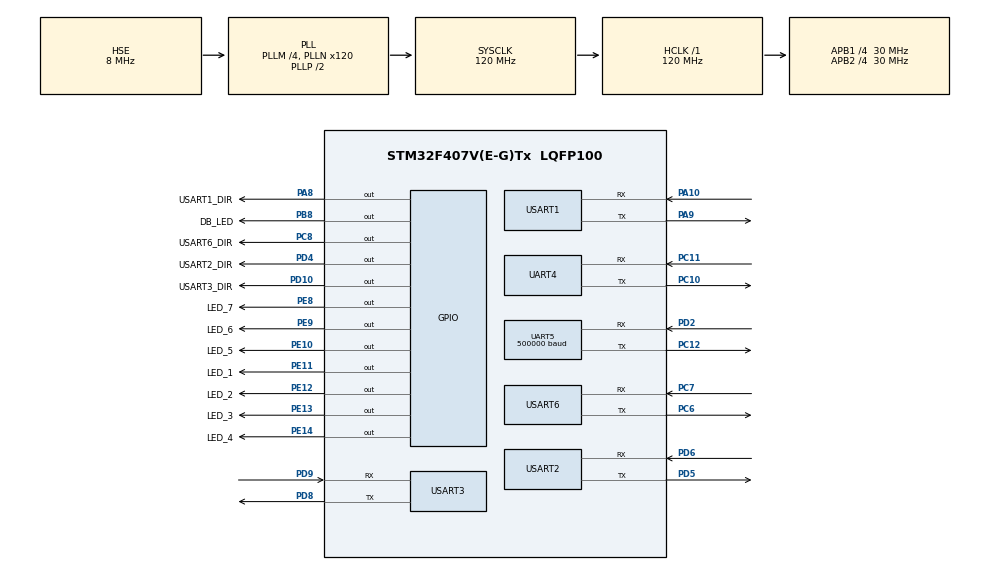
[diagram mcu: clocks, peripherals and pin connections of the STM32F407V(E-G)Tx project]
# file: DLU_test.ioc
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Dma.Request0=UART4_TX
Dma.Request1=USART2_RX
Dma.Request2=USART1_RX
Dma.Request3=USART3_RX
Dma.Request4=USART6_RX
Dma.Request5=UART5_RX
Dma.UART4_TX.0.Direction=DMA_MEMORY_TO_PERIPH
Dma.UART4_TX.0.FIFOMode=DMA_FIFOMODE_DISABLE
Dma.UART4_TX.0.Instance=DMA1_Stream4
Dma.UART4_TX.0.MemDataAlignment=DMA_MDATAALIGN_BYTE
Dma.UART4_TX.0.MemInc=DMA_MINC_ENABLE
Dma.UART4_TX.0.Mode=DMA_NORMAL
Dma.UART4_TX.0.PeriphDataAlignment=DMA_PDATAALIGN_BYTE
Dma.UART4_TX.0.PeriphInc=DMA_PINC_DISABLE
Dma.UART4_TX.0.Priority=DMA_PRIORITY_HIGH
Dma.UART5_RX.5.Direction=DMA_PERIPH_TO_MEMORY
Dma.UART5_RX.5.FIFOMode=DMA_FIFOMODE_DISABLE
Dma.UART5_RX.5.Instance=DMA1_Stream0
Dma.UART5_RX.5.MemDataAlignment=DMA_MDATAALIGN_BYTE
Dma.UART5_RX.5.MemInc=DMA_MINC_ENABLE
Dma.UART5_RX.5.Mode=DMA_NORMAL
Dma.UART5_RX.5.PeriphDataAlignment=DMA_PDATAALIGN_BYTE
Dma.UART5_RX.5.PeriphInc=DMA_PINC_DISABLE
Dma.UART5_RX.5.Priority=DMA_PRIORITY_VERY_HIGH
Dma.USART1_RX.2.Direction=DMA_PERIPH_TO_MEMORY
Dma.USART1_RX.2.FIFOMode=DMA_FIFOMODE_DISABLE
Dma.USART1_RX.2.Instance=DMA2_Stream2
Dma.USART1_RX.2.MemDataAlignment=DMA_MDATAALIGN_BYTE
Dma.USART1_RX.2.MemInc=DMA_MINC_ENABLE
Dma.USART1_RX.2.Mode=DMA_NORMAL
Dma.USART1_RX.2.PeriphDataAlignment=DMA_PDATAALIGN_BYTE
Dma.USART1_RX.2.PeriphInc=DMA_PINC_DISABLE
Dma.USART1_RX.2.Priority=DMA_PRIORITY_VERY_HIGH
Dma.USART2_RX.1.Direction=DMA_PERIPH_TO_MEMORY
Dma.USART2_RX.1.FIFOMode=DMA_FIFOMODE_DISABLE
Dma.USART2_RX.1.Instance=DMA1_Stream5
Dma.USART2_RX.1.MemDataAlignment=DMA_MDATAALIGN_BYTE
Dma.USART2_RX.1.MemInc=DMA_MINC_ENABLE
Dma.USART2_RX.1.Mode=DMA_NORMAL
Dma.USART2_RX.1.PeriphDataAlignment=DMA_PDATAALIGN_BYTE
Dma.USART2_RX.1.PeriphInc=DMA_PINC_DISABLE
Dma.USART2_RX.1.Priority=DMA_PRIORITY_VERY_HIGH
Dma.USART3_RX.3.Direction=DMA_PERIPH_TO_MEMORY
Dma.USART3_RX.3.FIFOMode=DMA_FIFOMODE_DISABLE
Dma.USART3_RX.3.Instance=DMA1_Stream1
Dma.USART3_RX.3.MemDataAlignment=DMA_MDATAALIGN_BYTE
Dma.USART3_RX.3.MemInc=DMA_MINC_ENABLE
Dma.USART3_RX.3.Mode=DMA_NORMAL
Dma.USART3_RX.3.PeriphDataAlignment=DMA_PDATAALIGN_BYTE
Dma.USART3_RX.3.PeriphInc=DMA_PINC_DISABLE
Dma.USART3_RX.3.Priority=DMA_PRIORITY_VERY_HIGH
Dma.USART6_RX.4.Direction=DMA_PERIPH_TO_MEMORY
Dma.USART6_RX.4.FIFOMode=DMA_FIFOMODE_DISABLE
Dma.USART6_RX.4.Instance=DMA2_Stream1
Dma.USART6_RX.4.MemDataAlignment=DMA_MDATAALIGN_BYTE
Dma.USART6_RX.4.MemInc=DMA_MINC_ENABLE
Dma.USART6_RX.4.Mode=DMA_NORMAL
Dma.USART6_RX.4.PeriphDataAlignment=DMA_PDATAALIGN_BYTE
Dma.USART6_RX.4.PeriphInc=DMA_PINC_DISABLE
Dma.USART6_RX.4.Priority=DMA_PRIORITY_VERY_HIGH
Mcu.Family=STM32F4
Mcu.Name=STM32F407V(E-G)Tx
Mcu.Package=LQFP100
NVIC.DMA1_Stream0_IRQn=true\:0\:0\:false\:false\:true\:false\:true\:true
NVIC.DMA1_Stream1_IRQn=true\:0\:0\:false\:false\:true\:false\:true\:true
NVIC.DMA1_Stream4_IRQn=true\:0\:0\:false\:false\:true\:false\:true\:true
NVIC.DMA1_Stream5_IRQn=true\:0\:0\:false\:false\:true\:false\:true\:true
NVIC.DMA2_Stream1_IRQn=true\:0\:0\:false\:false\:true\:false\:true\:true
NVIC.DMA2_Stream2_IRQn=true\:0\:0\:false\:false\:true\:false\:true\:true
NVIC.PriorityGroup=NVIC_PRIORITYGROUP_4
NVIC.TIM1_UP_TIM10_IRQn=true\:15\:0\:false\:false\:true\:false\:true\:true
NVIC.TIM2_IRQn=true\:0\:0\:false\:false\:true\:true\:true\:true
NVIC.TimeBase=TIM1_UP_TIM10_IRQn
NVIC.TimeBaseIP=TIM1
NVIC.UART4_IRQn=true\:0\:0\:false\:false\:true\:true\:true\:true
NVIC.UART5_IRQn=true\:0\:0\:false\:false\:true\:true\:true\:true
NVIC.USART1_IRQn=true\:0\:0\:false\:false\:true\:true\:true\:true
NVIC.USART2_IRQn=true\:0\:0\:false\:false\:true\:true\:true\:true
NVIC.USART3_IRQn=true\:0\:0\:false\:false\:true\:true\:true\:true
NVIC.USART6_IRQn=true\:0\:0\:false\:false\:true\:true\:true\:true
PA10.Mode=Asynchronous
PA10.Signal=USART1_RX
PA13.Mode=Serial_Wire
PA13.Signal=SYS_JTMS-SWDIO
PA14.Mode=Serial_Wire
PA14.Signal=SYS_JTCK-SWCLK
PA8.GPIO_Label=USART1_DIR
PA8.Signal=GPIO_Output
PA9.Mode=Asynchronous
PA9.Signal=USART1_TX
PB8.GPIO_Label=DB_LED
PB8.Signal=GPIO_Output
PC10.Mode=Asynchronous
PC10.Signal=UART4_TX
PC11.Mode=Asynchronous
PC11.Signal=UART4_RX
PC12.Mode=Asynchronous
PC12.Signal=UART5_TX
PC6.Mode=Asynchronous
PC6.Signal=USART6_TX
PC7.Mode=Asynchronous
PC7.Signal=USART6_RX
PC8.GPIO_Label=USART6_DIR
PC8.Signal=GPIO_Output
PD10.GPIO_Label=USART3_DIR
PD10.Signal=GPIO_Output
PD2.Mode=Asynchronous
PD2.Signal=UART5_RX
PD4.GPIO_Label=USART2_DIR
PD4.Signal=GPIO_Output
PD5.Mode=Asynchronous
PD5.Signal=USART2_TX
PD6.Mode=Asynchronous
PD6.Signal=USART2_RX
PD8.Mode=Asynchronous
PD8.Signal=USART3_TX
PD9.Mode=Asynchronous
PD9.Signal=USART3_RX
PE10.GPIO_Label=LED_5
PE10.Signal=GPIO_Output
PE11.GPIO_Label=LED_1
PE11.Signal=GPIO_Output
PE12.GPIO_Label=LED_2
PE12.Signal=GPIO_Output
PE13.GPIO_Label=LED_3
PE13.Signal=GPIO_Output
PE14.GPIO_Label=LED_4
PE14.Signal=GPIO_Output
PE8.GPIO_Label=LED_7
PE8.Signal=GPIO_Output
PE9.GPIO_Label=LED_6
PE9.Signal=GPIO_Output
PH0-OSC_IN.Mode=HSE-External-Oscillator
PH0-OSC_IN.Signal=RCC_OSC_IN
PH1-OSC_OUT.Mode=HSE-External-Oscillator
PH1-OSC_OUT.Signal=RCC_OSC_OUT
ProjectManager.HeapSize=0x200
ProjectManager.StackSize=0x400
ProjectManager.TargetToolchain=STM32CubeIDE
RCC.48MHZClocksFreq_Value=60000000
RCC.AHBFreq_Value=120000000
RCC.APB1CLKDivider=RCC_HCLK_DIV4
RCC.APB1Freq_Value=30000000
RCC.APB1TimFreq_Value=60000000
RCC.APB2CLKDivider=RCC_HCLK_DIV4
RCC.APB2Freq_Value=30000000
RCC.APB2TimFreq_Value=60000000
RCC.CortexFreq_Value=120000000
RCC.HCLKFreq_Value=120000000
RCC.HSE_VALUE=8000000
RCC.HSI_VALUE=16000000
RCC.LSE_VALUE=32768
RCC.PLLM=4
RCC.PLLN=120
RCC.PLLSourceVirtual=RCC_PLLSOURCE_HSE
RCC.SYSCLKFreq_VALUE=120000000
RCC.SYSCLKSource=RCC_SYSCLKSOURCE_PLLCLK
RCC.VCOOutputFreq_Value=240000000
TIM2.Channel-PWM\ Generation1\ No\ Output=TIM_CHANNEL_1
TIM2.CounterMode=TIM_COUNTERMODE_CENTERALIGNED1
TIM2.Period=9999
TIM2.Prescaler=59
TIM2.TIM_MasterOutputTrigger=TIM_TRGO_UPDATE
UART4.VirtualMode=Asynchronous
UART5.BaudRate=500000
UART5.Mode=MODE_TX_RX
UART5.VirtualMode=Asynchronous
USART1.VirtualMode=VM_ASYNC
USART2.VirtualMode=VM_ASYNC
USART3.VirtualMode=VM_ASYNC
USART6.VirtualMode=VM_ASYNC
VP_SYS_VS_tim1.Mode=TIM1
VP_TIM2_VS_ClockSourceINT.Mode=Internal
VP_TIM2_VS_no_output1.Mode=PWM Generation1 No Output
board=custom

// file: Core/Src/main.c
/* USER CODE BEGIN Header */
/**
  ******************************************************************************
  * @file           : main.c
  * @brief          : Main program body
  ******************************************************************************
  * @attention
  *
  * Copyright (c) 2025 STMicroelectronics.
  * All rights reserved.
  *
  * This software is licensed under terms that can be found in the LICENSE file
  * in the root directory of this software component.
  * If no LICENSE file comes with this software, it is provided AS-IS.
  *
  ******************************************************************************
  */
/* USER CODE END Header */
#include "main.h"

/* USER CODE BEGIN Includes */
#include "string.h"
/* USER CODE END Includes */

/* USER CODE BEGIN PD */
#define RX_BUFFER_SIZE 		150
#define QUEUE_SIZE 			152 // RX_BUFFERE_SIZE + 2
#define FRAME_SIZE			72
#define PACKET_SIZE 		FRAME_SIZE*6
#define NUM_OF_PORT 6
#define PORT_1		0
#define PORT_2		1
#define PORT_3		2
#define PORT_4		3
#define PORT_5		4
#define PORT_6		5

/* USER CODE END PD */

TIM_HandleTypeDef htim2;

UART_HandleTypeDef huart4;
UART_HandleTypeDef huart5;
UART_HandleTypeDef huart1;
UART_HandleTypeDef huart2;
UART_HandleTypeDef huart3;
UART_HandleTypeDef huart6;
DMA_HandleTypeDef hdma_uart4_tx;
DMA_HandleTypeDef hdma_uart5_rx;
DMA_HandleTypeDef hdma_usart1_rx;
DMA_HandleTypeDef hdma_usart2_rx;
DMA_HandleTypeDef hdma_usart3_rx;
DMA_HandleTypeDef hdma_usart6_rx;

/* USER CODE BEGIN PV */
uint8_t rx_dma_buffer_port_3[RX_BUFFER_SIZE] = {0};
uint8_t rx_dma_buffer_port_4[RX_BUFFER_SIZE] = {0};
uint8_t rx_dma_buffer_port_5[RX_BUFFER_SIZE] = {0};
uint8_t rx_dma_buffer_port_6[RX_BUFFER_SIZE] = {0};
uint8_t rx_dma_buffer_port_extend[RX_BUFFER_SIZE] = {0};

uint8_t txBuffer_debug[PACKET_SIZE] = {0};

uint8_t port_6_queue[QUEUE_SIZE] = {0};
uint8_t port_5_queue[QUEUE_SIZE] = {0};
uint8_t port_4_queue[QUEUE_SIZE] = {0};
uint8_t port_3_queue[QUEUE_SIZE] = {0};
uint8_t port_2_queue[QUEUE_SIZE] = {0};
uint8_t port_1_queue[QUEUE_SIZE] = {0};

uint8_t frame_size[6] = {0};

uint8_t uart_dma_processing[6] = {0};

uint32_t db_cur_tick = 0;
uint32_t led_timer_counter = 0;
uint32_t process_period_counter = 0;

/* USER CODE END PV */

void SystemClock_Config(void);
static void MX_GPIO_Init(void);
static void MX_DMA_Init(void);
static void MX_UART4_Init(void);
static void MX_USART2_UART_Init(void);
static void MX_USART1_UART_Init(void);
static void MX_USART3_UART_Init(void);
static void MX_USART6_UART_Init(void);
static void MX_UART5_Init(void);
static void MX_TIM2_Init(void);

/* USER CODE BEGIN 0 */
void HAL_UARTEx_RxEventCallback(UART_HandleTypeDef *huart, uint16_t Size)
{
	static uint32_t led_port_1_debug_irq = 0;
	static uint32_t led_port_2_debug_irq = 0;
	static uint32_t led_port_3_debug_irq = 0;
	static uint32_t led_port_4_debug_irq = 0;
	static uint32_t led_port_5_debug_irq = 0;
	static uint32_t led_port_6_debug_irq = 0;
	led_port_1_debug_irq++;
	led_port_2_debug_irq++;
	led_port_3_debug_irq++;
	led_port_4_debug_irq++;
	led_port_5_debug_irq++;
	led_port_6_debug_irq++;
	if (huart->Instance == USART2){ // port 6
		if (led_port_6_debug_irq > 10) {
			led_port_6_debug_irq = 0;
			HAL_GPIO_TogglePin(LED_7_GPIO_Port, LED_7_Pin);
		}
		frame_size[PORT_6] = Size;
		uart_dma_processing[PORT_6] = 1;
		port_6_queue[0] = 0xaa;
		port_6_queue[1] = 6;
		memcpy((port_6_queue + 2), rx_dma_buffer_port_6, frame_size[PORT_6]);
//		volatile uint32_t byte_sr;
//		byte_sr = USART2->SR;
//		byte_sr = USART2->DR;
		HAL_UARTEx_ReceiveToIdle_DMA(&huart2, rx_dma_buffer_port_6, RX_BUFFER_SIZE);
		__HAL_DMA_DISABLE_IT(&hdma_usart2_rx, DMA_IT_HT);
	}

	if (huart->Instance == USART1){ // port 5
		if (led_port_5_debug_irq > 10) {
			led_port_5_debug_irq = 0;
			HAL_GPIO_TogglePin(LED_6_GPIO_Port, LED_6_Pin);
		}
		frame_size[PORT_5] = Size;
		uart_dma_processing[PORT_5] = 1;
		port_5_queue[0] = 0xaa;
		port_5_queue[1] = 5;
		memcpy((port_5_queue + 2), rx_dma_buffer_port_5, frame_size[PORT_5]);
		HAL_UARTEx_ReceiveToIdle_DMA(&huart1, rx_dma_buffer_port_5, RX_BUFFER_SIZE);
		__HAL_DMA_DISABLE_IT(&hdma_usart1_rx, DMA_IT_HT);
	}

	if (huart->Instance == USART6){ // port 4
		if (led_port_4_debug_irq > 10) {
			led_port_4_debug_irq = 0;
			HAL_GPIO_TogglePin(LED_5_GPIO_Port, LED_5_Pin);
		}
		frame_size[PORT_4] = Size;
		uart_dma_processing[PORT_4] = 1;
		port_4_queue[0] = 0xaa;
		port_4_queue[1] = 4;
		memcpy((port_4_queue + 2), rx_dma_buffer_port_4, frame_size[PORT_4]);
		HAL_UARTEx_ReceiveToIdle_DMA(&huart6, rx_dma_buffer_port_4, RX_BUFFER_SIZE);
		__HAL_DMA_DISABLE_IT(&hdma_usart6_rx, DMA_IT_HT);
	}

	if (huart->Instance == USART3){ // port 3
		if (led_port_3_debug_irq > 10) {
			led_port_3_debug_irq = 0;
			HAL_GPIO_TogglePin(LED_4_GPIO_Port, LED_4_Pin);
		}
		frame_size[PORT_3] = Size;
		uart_dma_processing[PORT_3] = 1;
		port_3_queue[0] = 0xaa;
		port_3_queue[1] = 3;
		memcpy((port_3_queue + 2), rx_dma_buffer_port_3, frame_size[PORT_3]);
		HAL_UARTEx_ReceiveToIdle_DMA(&huart3, rx_dma_buffer_port_3, RX_BUFFER_SIZE);
		__HAL_DMA_DISABLE_IT(&hdma_usart3_rx, DMA_IT_HT);
	}

	if (huart->Instance == UART5){ // port extend 1-2
		if (rx_dma_buffer_port_extend[1] == 1){
			if (led_port_1_debug_irq > 2) {
				led_port_1_debug_irq = 0;
				HAL_GPIO_TogglePin(LED_2_GPIO_Port, LED_2_Pin);
			}
			frame_size[PORT_1] = Size;
			uart_dma_processing[PORT_1] = 1;
			memcpy(port_1_queue, rx_dma_buffer_port_extend, frame_size[PORT_1]);
		} else if (rx_dma_buffer_port_extend[1] == 2){
			if (led_port_2_debug_irq > 2) {
				led_port_2_debug_irq = 0;
				HAL_GPIO_TogglePin(LED_3_GPIO_Port, LED_3_Pin);
			}
			frame_size[PORT_2] = Size;
			uart_dma_processing[PORT_2] = 1;
			memcpy(port_2_queue, rx_dma_buffer_port_extend, frame_size[PORT_2]);
		}
		HAL_UARTEx_ReceiveToIdle_DMA(&huart5, rx_dma_buffer_port_extend, RX_BUFFER_SIZE);
		__HAL_DMA_DISABLE_IT(&hdma_uart5_rx, DMA_IT_HT);
	}
}

/* USER CODE END 0 */

int main(void)
{

  /* MCU Configuration--------------------------------------------------------*/

  /* Reset of all peripherals, Initializes the Flash interface and the Systick. */
  HAL_Init();

  /* Configure the system clock */
  SystemClock_Config();

  /* Initialize all configured peripherals */
  MX_GPIO_Init();
  MX_DMA_Init();
  MX_UART4_Init();
  MX_USART2_UART_Init();
  MX_USART1_UART_Init();
  MX_USART3_UART_Init();
  MX_USART6_UART_Init();
  MX_UART5_Init();
  MX_TIM2_Init();
  /* USER CODE BEGIN 2 */
  //port 6 - USART 2
//  HAL_GPIO_WritePin(USART2_DIR_GPIO_Port, USART2_DIR_Pin, GPIO_PIN_RESET);
  HAL_UARTEx_ReceiveToIdle_DMA(&huart2, rx_dma_buffer_port_6, RX_BUFFER_SIZE);
  __HAL_DMA_DISABLE_IT(&hdma_usart2_rx, DMA_IT_HT);

  //port 5 - USART 1
//  HAL_GPIO_WritePin(USART1_DIR_GPIO_Port, USART1_DIR_Pin, GPIO_PIN_RESET);
  HAL_UARTEx_ReceiveToIdle_DMA(&huart1, rx_dma_buffer_port_5, RX_BUFFER_SIZE);
  __HAL_DMA_DISABLE_IT(&hdma_usart1_rx, DMA_IT_HT);

  //port 4 - USART 6
//  HAL_GPIO_WritePin(USART6_DIR_GPIO_Port, USART6_DIR_Pin, GPIO_PIN_RESET);
  HAL_UARTEx_ReceiveToIdle_DMA(&huart6, rx_dma_buffer_port_4, RX_BUFFER_SIZE);
  __HAL_DMA_DISABLE_IT(&hdma_usart6_rx, DMA_IT_HT);

  //port 3 - USART 3
//  HAL_GPIO_WritePin(USART3_DIR_GPIO_Port, USART3_DIR_Pin, GPIO_PIN_RESET);
  HAL_UARTEx_ReceiveToIdle_DMA(&huart3, rx_dma_buffer_port_3, RX_BUFFER_SIZE);
  __HAL_DMA_DISABLE_IT(&hdma_usart3_rx, DMA_IT_HT);

  //port extend - UART 5
//  HAL_GPIO_WritePin(UART5_DIR_GPIO_Port, UART5_DIR_Pin, GPIO_PIN_RESET);
  HAL_UARTEx_ReceiveToIdle_DMA(&huart5, rx_dma_buffer_port_extend, RX_BUFFER_SIZE);
  __HAL_DMA_DISABLE_IT(&hdma_uart5_rx, DMA_IT_HT);

  // start timer 2
  HAL_TIM_Base_Start_IT(&htim2);

  /* USER CODE END 2 */

  /* Infinite loop */
  while (1)
  {

    /* USER CODE BEGIN 3 */
	  db_cur_tick = HAL_GetTick();
	  if (db_cur_tick % 500 == 100) HAL_GPIO_TogglePin(DB_LED_GPIO_Port, DB_LED_Pin);
//	  for (int i = 0; i < NUM_OF_PORT; i++){
//		  uart_dma_processing[i] = 0;
//	  }
  }
  /* USER CODE END 3 */
}

void SystemClock_Config(void)
{
  RCC_OscInitTypeDef RCC_OscInitStruct = {0};
  RCC_ClkInitTypeDef RCC_ClkInitStruct = {0};

  /** Configure the main internal regulator output voltage
  */
  __HAL_RCC_PWR_CLK_ENABLE();
  __HAL_PWR_VOLTAGESCALING_CONFIG(PWR_REGULATOR_VOLTAGE_SCALE1);

  /** Initializes the RCC Oscillators according to the specified parameters
  * in the RCC_OscInitTypeDef structure.
  */
  RCC_OscInitStruct.OscillatorType = RCC_OSCILLATORTYPE_HSE;
  RCC_OscInitStruct.HSEState = RCC_HSE_ON;
  RCC_OscInitStruct.PLL.PLLState = RCC_PLL_ON;
  RCC_OscInitStruct.PLL.PLLSource = RCC_PLLSOURCE_HSE;
  RCC_OscInitStruct.PLL.PLLM = 4;
  RCC_OscInitStruct.PLL.PLLN = 120;
  RCC_OscInitStruct.PLL.PLLP = RCC_PLLP_DIV2;
  RCC_OscInitStruct.PLL.PLLQ = 4;
  if (HAL_RCC_OscConfig(&RCC_OscInitStruct) != HAL_OK)
  {
    Error_Handler();
  }

  /** Initializes the CPU, AHB and APB buses clocks
  */
  RCC_ClkInitStruct.ClockType = RCC_CLOCKTYPE_HCLK|RCC_CLOCKTYPE_SYSCLK
                              |RCC_CLOCKTYPE_PCLK1|RCC_CLOCKTYPE_PCLK2;
  RCC_ClkInitStruct.SYSCLKSource = RCC_SYSCLKSOURCE_PLLCLK;
  RCC_ClkInitStruct.AHBCLKDivider = RCC_SYSCLK_DIV1;
  RCC_ClkInitStruct.APB1CLKDivider = RCC_HCLK_DIV4;
  RCC_ClkInitStruct.APB2CLKDivider = RCC_HCLK_DIV4;

  if (HAL_RCC_ClockConfig(&RCC_ClkInitStruct, FLASH_LATENCY_3) != HAL_OK)
  {
    Error_Handler();
  }
}

static void MX_TIM2_Init(void)
{

  TIM_ClockConfigTypeDef sClockSourceConfig = {0};
  TIM_MasterConfigTypeDef sMasterConfig = {0};
  TIM_OC_InitTypeDef sConfigOC = {0};

  htim2.Instance = TIM2;
  htim2.Init.Prescaler = 59;
  htim2.Init.CounterMode = TIM_COUNTERMODE_CENTERALIGNED1;
  htim2.Init.Period = 9999;
  htim2.Init.ClockDivision = TIM_CLOCKDIVISION_DIV1;
  htim2.Init.AutoReloadPreload = TIM_AUTORELOAD_PRELOAD_DISABLE;
  if (HAL_TIM_Base_Init(&htim2) != HAL_OK)
  {
    Error_Handler();
  }
  sClockSourceConfig.ClockSource = TIM_CLOCKSOURCE_INTERNAL;
  if (HAL_TIM_ConfigClockSource(&htim2, &sClockSourceConfig) != HAL_OK)
  {
    Error_Handler();
  }
  if (HAL_TIM_PWM_Init(&htim2) != HAL_OK)
  {
    Error_Handler();
  }
  sMasterConfig.MasterOutputTrigger = TIM_TRGO_UPDATE;
  sMasterConfig.MasterSlaveMode = TIM_MASTERSLAVEMODE_DISABLE;
  if (HAL_TIMEx_MasterConfigSynchronization(&htim2, &sMasterConfig) != HAL_OK)
  {
    Error_Handler();
  }
  sConfigOC.OCMode = TIM_OCMODE_PWM1;
  sConfigOC.Pulse = 0;
  sConfigOC.OCPolarity = TIM_OCPOLARITY_HIGH;
  sConfigOC.OCFastMode = TIM_OCFAST_DISABLE;
  if (HAL_TIM_PWM_ConfigChannel(&htim2, &sConfigOC, TIM_CHANNEL_1) != HAL_OK)
  {
    Error_Handler();
  }

}

static void MX_UART4_Init(void)
{

  huart4.Instance = UART4;
  huart4.Init.BaudRate = 115200;
  huart4.Init.WordLength = UART_WORDLENGTH_8B;
  huart4.Init.StopBits = UART_STOPBITS_1;
  huart4.Init.Parity = UART_PARITY_NONE;
  huart4.Init.Mode = UART_MODE_TX_RX;
  huart4.Init.HwFlowCtl = UART_HWCONTROL_NONE;
  huart4.Init.OverSampling = UART_OVERSAMPLING_16;
  if (HAL_UART_Init(&huart4) != HAL_OK)
  {
    Error_Handler();
  }

}

static void MX_UART5_Init(void)
{

  huart5.Instance = UART5;
  huart5.Init.BaudRate = 500000;
  huart5.Init.WordLength = UART_WORDLENGTH_8B;
  huart5.Init.StopBits = UART_STOPBITS_1;
  huart5.Init.Parity = UART_PARITY_NONE;
  huart5.Init.Mode = UART_MODE_TX_RX;
  huart5.Init.HwFlowCtl = UART_HWCONTROL_NONE;
  huart5.Init.OverSampling = UART_OVERSAMPLING_16;
  if (HAL_UART_Init(&huart5) != HAL_OK)
  {
    Error_Handler();
  }

}

static void MX_USART1_UART_Init(void)
{

  huart1.Instance = USART1;
  huart1.Init.BaudRate = 115200;
  huart1.Init.WordLength = UART_WORDLENGTH_8B;
  huart1.Init.StopBits = UART_STOPBITS_1;
  huart1.Init.Parity = UART_PARITY_NONE;
  huart1.Init.Mode = UART_MODE_TX_RX;
  huart1.Init.HwFlowCtl = UART_HWCONTROL_NONE;
  huart1.Init.OverSampling = UART_OVERSAMPLING_16;
  if (HAL_UART_Init(&huart1) != HAL_OK)
  {
    Error_Handler();
  }

}

static void MX_USART2_UART_Init(void)
{

  huart2.Instance = USART2;
  huart2.Init.BaudRate = 115200;
  huart2.Init.WordLength = UART_WORDLENGTH_8B;
  huart2.Init.StopBits = UART_STOPBITS_1;
  huart2.Init.Parity = UART_PARITY_NONE;
  huart2.Init.Mode = UART_MODE_TX_RX;
  huart2.Init.HwFlowCtl = UART_HWCONTROL_NONE;
  huart2.Init.OverSampling = UART_OVERSAMPLING_16;
  if (HAL_UART_Init(&huart2) != HAL_OK)
  {
    Error_Handler();
  }

}

static void MX_USART3_UART_Init(void)
{

  huart3.Instance = USART3;
  huart3.Init.BaudRate = 115200;
  huart3.Init.WordLength = UART_WORDLENGTH_8B;
  huart3.Init.StopBits = UART_STOPBITS_1;
  huart3.Init.Parity = UART_PARITY_NONE;
  huart3.Init.Mode = UART_MODE_TX_RX;
  huart3.Init.HwFlowCtl = UART_HWCONTROL_NONE;
  huart3.Init.OverSampling = UART_OVERSAMPLING_16;
  if (HAL_UART_Init(&huart3) != HAL_OK)
  {
    Error_Handler();
  }

}

static void MX_USART6_UART_Init(void)
{

  huart6.Instance = USART6;
  huart6.Init.BaudRate = 115200;
  huart6.Init.WordLength = UART_WORDLENGTH_8B;
  huart6.Init.StopBits = UART_STOPBITS_1;
  huart6.Init.Parity = UART_PARITY_NONE;
  huart6.Init.Mode = UART_MODE_TX_RX;
  huart6.Init.HwFlowCtl = UART_HWCONTROL_NONE;
  huart6.Init.OverSampling = UART_OVERSAMPLING_16;
  if (HAL_UART_Init(&huart6) != HAL_OK)
  {
    Error_Handler();
  }

}

static void MX_DMA_Init(void)
{

  /* DMA controller clock enable */
  __HAL_RCC_DMA1_CLK_ENABLE();
  __HAL_RCC_DMA2_CLK_ENABLE();

  /* DMA interrupt init */
  /* DMA1_Stream0_IRQn interrupt configuration */
  HAL_NVIC_SetPriority(DMA1_Stream0_IRQn, 0, 0);
  HAL_NVIC_EnableIRQ(DMA1_Stream0_IRQn);
  /* DMA1_Stream1_IRQn interrupt configuration */
  HAL_NVIC_SetPriority(DMA1_Stream1_IRQn, 0, 0);
  HAL_NVIC_EnableIRQ(DMA1_Stream1_IRQn);
  /* DMA1_Stream4_IRQn interrupt configuration */
  HAL_NVIC_SetPriority(DMA1_Stream4_IRQn, 0, 0);
  HAL_NVIC_EnableIRQ(DMA1_Stream4_IRQn);
  /* DMA1_Stream5_IRQn interrupt configuration */
  HAL_NVIC_SetPriority(DMA1_Stream5_IRQn, 0, 0);
  HAL_NVIC_EnableIRQ(DMA1_Stream5_IRQn);
  /* DMA2_Stream1_IRQn interrupt configuration */
  HAL_NVIC_SetPriority(DMA2_Stream1_IRQn, 0, 0);
  HAL_NVIC_EnableIRQ(DMA2_Stream1_IRQn);
  /* DMA2_Stream2_IRQn interrupt configuration */
  HAL_NVIC_SetPriority(DMA2_Stream2_IRQn, 0, 0);
  HAL_NVIC_EnableIRQ(DMA2_Stream2_IRQn);

}

static void MX_GPIO_Init(void)
{
  GPIO_InitTypeDef GPIO_InitStruct = {0};

  /* GPIO Ports Clock Enable */
  __HAL_RCC_GPIOH_CLK_ENABLE();
  __HAL_RCC_GPIOE_CLK_ENABLE();
  __HAL_RCC_GPIOD_CLK_ENABLE();
  __HAL_RCC_GPIOC_CLK_ENABLE();
  __HAL_RCC_GPIOA_CLK_ENABLE();
  __HAL_RCC_GPIOB_CLK_ENABLE();

  /*Configure GPIO pin Output Level */
  HAL_GPIO_WritePin(GPIOE, LED_7_Pin|LED_6_Pin|LED_5_Pin|LED_1_Pin
                          |LED_2_Pin|LED_3_Pin|LED_4_Pin, GPIO_PIN_RESET);

  /*Configure GPIO pin Output Level */
  HAL_GPIO_WritePin(GPIOD, USART3_DIR_Pin|USART2_DIR_Pin, GPIO_PIN_RESET);

  /*Configure GPIO pin Output Level */
  HAL_GPIO_WritePin(USART6_DIR_GPIO_Port, USART6_DIR_Pin, GPIO_PIN_RESET);

  /*Configure GPIO pin Output Level */
  HAL_GPIO_WritePin(USART1_DIR_GPIO_Port, USART1_DIR_Pin, GPIO_PIN_RESET);

  /*Configure GPIO pin Output Level */
  HAL_GPIO_WritePin(DB_LED_GPIO_Port, DB_LED_Pin, GPIO_PIN_RESET);

  /*Configure GPIO pins : LED_7_Pin LED_6_Pin LED_5_Pin LED_1_Pin
                           LED_2_Pin LED_3_Pin LED_4_Pin */
  GPIO_InitStruct.Pin = LED_7_Pin|LED_6_Pin|LED_5_Pin|LED_1_Pin
                          |LED_2_Pin|LED_3_Pin|LED_4_Pin;
  GPIO_InitStruct.Mode = GPIO_MODE_OUTPUT_PP;
  GPIO_InitStruct.Pull = GPIO_NOPULL;
  GPIO_InitStruct.Speed = GPIO_SPEED_FREQ_LOW;
  HAL_GPIO_Init(GPIOE, &GPIO_InitStruct);

  /*Configure GPIO pins : USART3_DIR_Pin USART2_DIR_Pin */
  GPIO_InitStruct.Pin = USART3_DIR_Pin|USART2_DIR_Pin;
  GPIO_InitStruct.Mode = GPIO_MODE_OUTPUT_PP;
  GPIO_InitStruct.Pull = GPIO_NOPULL;
  GPIO_InitStruct.Speed = GPIO_SPEED_FREQ_LOW;
  HAL_GPIO_Init(GPIOD, &GPIO_InitStruct);

  /*Configure GPIO pin : USART6_DIR_Pin */
  GPIO_InitStruct.Pin = USART6_DIR_Pin;
  GPIO_InitStruct.Mode = GPIO_MODE_OUTPUT_PP;
  GPIO_InitStruct.Pull = GPIO_NOPULL;
  GPIO_InitStruct.Speed = GPIO_SPEED_FREQ_LOW;
  HAL_GPIO_Init(USART6_DIR_GPIO_Port, &GPIO_InitStruct);

  /*Configure GPIO pin : USART1_DIR_Pin */
  GPIO_InitStruct.Pin = USART1_DIR_Pin;
  GPIO_InitStruct.Mode = GPIO_MODE_OUTPUT_PP;
  GPIO_InitStruct.Pull = GPIO_NOPULL;
  GPIO_InitStruct.Speed = GPIO_SPEED_FREQ_LOW;
  HAL_GPIO_Init(USART1_DIR_GPIO_Port, &GPIO_InitStruct);

  /*Configure GPIO pin : DB_LED_Pin */
  GPIO_InitStruct.Pin = DB_LED_Pin;
  GPIO_InitStruct.Mode = GPIO_MODE_OUTPUT_PP;
  GPIO_InitStruct.Pull = GPIO_NOPULL;
  GPIO_InitStruct.Speed = GPIO_SPEED_FREQ_LOW;
  HAL_GPIO_Init(DB_LED_GPIO_Port, &GPIO_InitStruct);

}

/* USER CODE BEGIN 4 */
void HAL_UART_ErrorCallback(UART_HandleTypeDef *huart){
	if (huart->Instance == USART1){ // port 5
		if (__HAL_UART_GET_FLAG(huart, UART_FLAG_ORE)) __HAL_UART_CLEAR_FLAG(huart, UART_FLAG_ORE);
		if (__HAL_UART_GET_FLAG(huart, UART_FLAG_FE)) __HAL_UART_CLEAR_FLAG(huart, UART_FLAG_FE);
		if (__HAL_UART_GET_FLAG(huart, UART_FLAG_NE)) __HAL_UART_CLEAR_FLAG(huart, UART_FLAG_NE);
		if (__HAL_UART_GET_FLAG(huart, UART_FLAG_PE)) __HAL_UART_CLEAR_FLAG(huart, UART_FLAG_PE);
		HAL_UART_DMAStop(huart);
		HAL_UARTEx_ReceiveToIdle_DMA(huart, rx_dma_buffer_port_5, RX_BUFFER_SIZE);
		__HAL_DMA_DISABLE_IT(&hdma_usart1_rx, DMA_IT_HT);
	} else if (huart->Instance == USART2){ // port 6
		if (__HAL_UART_GET_FLAG(huart, UART_FLAG_ORE)) __HAL_UART_CLEAR_FLAG(huart, UART_FLAG_ORE);
		if (__HAL_UART_GET_FLAG(huart, UART_FLAG_FE)) __HAL_UART_CLEAR_FLAG(huart, UART_FLAG_FE);
		if (__HAL_UART_GET_FLAG(huart, UART_FLAG_NE)) __HAL_UART_CLEAR_FLAG(huart, UART_FLAG_NE);
		if (__HAL_UART_GET_FLAG(huart, UART_FLAG_PE)) __HAL_UART_CLEAR_FLAG(huart, UART_FLAG_PE);
		HAL_UART_DMAStop(huart);
		HAL_UARTEx_ReceiveToIdle_DMA(huart, rx_dma_buffer_port_6, RX_BUFFER_SIZE);
		__HAL_DMA_DISABLE_IT(&hdma_usart2_rx, DMA_IT_HT);
	} else if (huart->Instance == USART3){ // port 3
		if (__HAL_UART_GET_FLAG(huart, UART_FLAG_ORE)) __HAL_UART_CLEAR_FLAG(huart, UART_FLAG_ORE);
		if (__HAL_UART_GET_FLAG(huart, UART_FLAG_FE)) __HAL_UART_CLEAR_FLAG(huart, UART_FLAG_FE);
		if (__HAL_UART_GET_FLAG(huart, UART_FLAG_NE)) __HAL_UART_CLEAR_FLAG(huart, UART_FLAG_NE);
		if (__HAL_UART_GET_FLAG(huart, UART_FLAG_PE)) __HAL_UART_CLEAR_FLAG(huart, UART_FLAG_PE);
		HAL_UART_DMAStop(huart);
		HAL_UARTEx_ReceiveToIdle_DMA(huart, rx_dma_buffer_port_3, RX_BUFFER_SIZE);
		__HAL_DMA_DISABLE_IT(&hdma_usart3_rx, DMA_IT_HT);
	} else if (huart->Instance == USART6){ // port 4
		if (__HAL_UART_GET_FLAG(huart, UART_FLAG_ORE)) __HAL_UART_CLEAR_FLAG(huart, UART_FLAG_ORE);
		if (__HAL_UART_GET_FLAG(huart, UART_FLAG_FE)) __HAL_UART_CLEAR_FLAG(huart, UART_FLAG_FE);
		if (__HAL_UART_GET_FLAG(huart, UART_FLAG_NE)) __HAL_UART_CLEAR_FLAG(huart, UART_FLAG_NE);
		if (__HAL_UART_GET_FLAG(huart, UART_FLAG_PE)) __HAL_UART_CLEAR_FLAG(huart, UART_FLAG_PE);
		HAL_UART_DMAStop(huart);
		HAL_UARTEx_ReceiveToIdle_DMA(huart, rx_dma_buffer_port_4, RX_BUFFER_SIZE);
		__HAL_DMA_DISABLE_IT(&hdma_usart6_rx, DMA_IT_HT);
	} else if (huart->Instance == UART5){ // port extend
		if (__HAL_UART_GET_FLAG(huart, UART_FLAG_ORE)) __HAL_UART_CLEAR_FLAG(huart, UART_FLAG_ORE);
		if (__HAL_UART_GET_FLAG(huart, UART_FLAG_FE)) __HAL_UART_CLEAR_FLAG(huart, UART_FLAG_FE);
		if (__HAL_UART_GET_FLAG(huart, UART_FLAG_NE)) __HAL_UART_CLEAR_FLAG(huart, UART_FLAG_NE);
		if (__HAL_UART_GET_FLAG(huart, UART_FLAG_PE)) __HAL_UART_CLEAR_FLAG(huart, UART_FLAG_PE);
		HAL_UART_DMAStop(huart);
		HAL_UARTEx_ReceiveToIdle_DMA(huart, rx_dma_buffer_port_extend, RX_BUFFER_SIZE);
		__HAL_DMA_DISABLE_IT(&hdma_uart5_rx, DMA_IT_HT);
	}
}
/* USER CODE END 4 */

void HAL_TIM_PeriodElapsedCallback(TIM_HandleTypeDef *htim)
{
  if (htim->Instance == TIM1) {
    HAL_IncTick();
  }
  /* USER CODE BEGIN Callback 1 */
  if (htim->Instance == TIM2)
  {
	  process_period_counter++;
	  led_timer_counter++;
	  if (led_timer_counter > 25) {
		  led_timer_counter = 0;
		  HAL_GPIO_TogglePin(LED_1_GPIO_Port, LED_1_Pin);
	  }
	  if (process_period_counter >3){
		  process_period_counter = 0;
		  // process_data, merge data from port_queue to txBuffer_debug
		  for (int i = 0; i < 72; i++){
			  txBuffer_debug[i] 	= port_1_queue[i];
			  txBuffer_debug[i+72]  = port_2_queue[i];
			  txBuffer_debug[i+144] = port_3_queue[i];
			  txBuffer_debug[i+216] = port_4_queue[i];
			  txBuffer_debug[i+288] = port_5_queue[i];
			  txBuffer_debug[i+360] = port_6_queue[i];
		  }
		txBuffer_debug[0]   = 0xaa;
		txBuffer_debug[72]  = 0xaa;
		txBuffer_debug[144] = 0xaa;
		txBuffer_debug[216] = 0xaa;
		txBuffer_debug[288] = 0xaa;
		txBuffer_debug[360] = 0xaa;
		// send data
  		HAL_UART_Transmit_DMA(&huart4, (uint8_t *)txBuffer_debug, PACKET_SIZE);
  		// clear port queue after merge and send
//  		for (int i = 0; i < QUEUE_SIZE; i++){
//  			port_1_queue[i] = 0;
//  			port_2_queue[i] = 0;
//  			port_3_queue[i] = 0;
//  			port_4_queue[i] = 0;
//  			port_5_queue[i] = 0;
//  			port_6_queue[i] = 0;
//  		}
  	}
  }
  /* USER CODE END Callback 1 */
}

void Error_Handler(void)
{
  __disable_irq();
  while (1)
  {
  }
}
